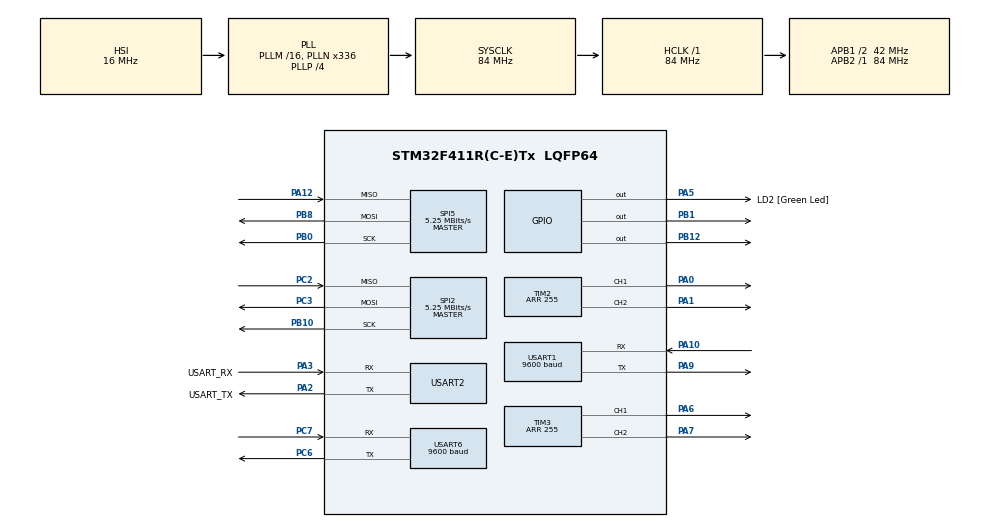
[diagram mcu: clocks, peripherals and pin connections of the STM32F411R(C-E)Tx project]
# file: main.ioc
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Dma.Request0=USART6_RX
Dma.Request1=USART1_TX
Dma.Request2=USART1_RX
Dma.USART1_RX.2.Direction=DMA_PERIPH_TO_MEMORY
Dma.USART1_RX.2.FIFOMode=DMA_FIFOMODE_DISABLE
Dma.USART1_RX.2.Instance=DMA2_Stream2
Dma.USART1_RX.2.MemDataAlignment=DMA_MDATAALIGN_BYTE
Dma.USART1_RX.2.MemInc=DMA_MINC_ENABLE
Dma.USART1_RX.2.Mode=DMA_NORMAL
Dma.USART1_RX.2.PeriphDataAlignment=DMA_PDATAALIGN_BYTE
Dma.USART1_RX.2.PeriphInc=DMA_PINC_DISABLE
Dma.USART1_RX.2.Priority=DMA_PRIORITY_LOW
Dma.USART1_TX.1.Direction=DMA_MEMORY_TO_PERIPH
Dma.USART1_TX.1.FIFOMode=DMA_FIFOMODE_DISABLE
Dma.USART1_TX.1.Instance=DMA2_Stream7
Dma.USART1_TX.1.MemDataAlignment=DMA_MDATAALIGN_BYTE
Dma.USART1_TX.1.MemInc=DMA_MINC_ENABLE
Dma.USART1_TX.1.Mode=DMA_NORMAL
Dma.USART1_TX.1.PeriphDataAlignment=DMA_PDATAALIGN_BYTE
Dma.USART1_TX.1.PeriphInc=DMA_PINC_DISABLE
Dma.USART1_TX.1.Priority=DMA_PRIORITY_LOW
Dma.USART6_RX.0.Direction=DMA_PERIPH_TO_MEMORY
Dma.USART6_RX.0.FIFOMode=DMA_FIFOMODE_DISABLE
Dma.USART6_RX.0.Instance=DMA2_Stream1
Dma.USART6_RX.0.MemDataAlignment=DMA_MDATAALIGN_BYTE
Dma.USART6_RX.0.MemInc=DMA_MINC_ENABLE
Dma.USART6_RX.0.Mode=DMA_CIRCULAR
Dma.USART6_RX.0.PeriphDataAlignment=DMA_PDATAALIGN_BYTE
Dma.USART6_RX.0.PeriphInc=DMA_PINC_DISABLE
Dma.USART6_RX.0.Priority=DMA_PRIORITY_LOW
Mcu.Family=STM32F4
Mcu.Name=STM32F411R(C-E)Tx
Mcu.Package=LQFP64
NVIC.DMA2_Stream1_IRQn=true\:0\:0\:false\:false\:true\:false\:true\:true
NVIC.DMA2_Stream2_IRQn=true\:0\:0\:false\:false\:true\:false\:true\:true
NVIC.DMA2_Stream7_IRQn=true\:0\:0\:false\:false\:true\:false\:true\:true
NVIC.PriorityGroup=NVIC_PRIORITYGROUP_0
NVIC.SPI2_IRQn=true\:0\:0\:false\:false\:true\:true\:true\:true
NVIC.SPI5_IRQn=true\:0\:0\:false\:false\:true\:true\:true\:true
NVIC.USART1_IRQn=true\:0\:0\:false\:false\:true\:true\:true\:true
NVIC.USART6_IRQn=true\:0\:0\:false\:false\:true\:true\:true\:true
PA0-WKUP.Signal=S_TIM2_CH1_ETR
PA1.Signal=S_TIM2_CH2
PA10.Mode=Asynchronous
PA10.Signal=USART1_RX
PA12.Mode=Full_Duplex_Master
PA12.Signal=SPI5_MISO
PA13.GPIO_Label=TMS
PA13.Mode=Serial_Wire
PA13.Signal=SYS_JTMS-SWDIO
PA14.GPIO_Label=TCK
PA14.Mode=Serial_Wire
PA14.Signal=SYS_JTCK-SWCLK
PA2.GPIO_Label=USART_TX
PA2.Mode=Asynchronous
PA2.Signal=USART2_TX
PA3.GPIO_Label=USART_RX
PA3.Mode=Asynchronous
PA3.Signal=USART2_RX
PA5.GPIO_Label=LD2 [Green Led]
PA5.Signal=GPIO_Output
PA6.Signal=S_TIM3_CH1
PA7.Signal=S_TIM3_CH2
PA9.Mode=Asynchronous
PA9.Signal=USART1_TX
PB0.Mode=Full_Duplex_Master
PB0.Signal=SPI5_SCK
PB1.Signal=GPIO_Output
PB10.Mode=Full_Duplex_Master
PB10.Signal=SPI2_SCK
PB12.Signal=GPIO_Output
PB8.Mode=Full_Duplex_Master
PB8.Signal=SPI5_MOSI
PC14-OSC32_IN.Mode=LSE-External-Oscillator
PC14-OSC32_IN.Signal=RCC_OSC32_IN
PC15-OSC32_OUT.Mode=LSE-External-Oscillator
PC15-OSC32_OUT.Signal=RCC_OSC32_OUT
PC2.Mode=Full_Duplex_Master
PC2.Signal=SPI2_MISO
PC3.Mode=Full_Duplex_Master
PC3.Signal=SPI2_MOSI
PC6.Mode=Asynchronous
PC6.Signal=USART6_TX
PC7.Mode=Asynchronous
PC7.Signal=USART6_RX
PH0\ -\ OSC_IN.Mode=HSE-External-Clock-Source
PH0\ -\ OSC_IN.Signal=RCC_OSC_IN
PH1\ -\ OSC_OUT.Mode=HSE-External-Clock-Source
PH1\ -\ OSC_OUT.Signal=RCC_OSC_OUT
ProjectManager.HeapSize=0x200
ProjectManager.StackSize=0x400
ProjectManager.TargetToolchain=CMake
RCC.48MHZClocksFreq_Value=84000000
RCC.AHBFreq_Value=84000000
RCC.APB1CLKDivider=RCC_HCLK_DIV2
RCC.APB1Freq_Value=42000000
RCC.APB1TimFreq_Value=84000000
RCC.APB2Freq_Value=84000000
RCC.APB2TimFreq_Value=84000000
RCC.CortexFreq_Value=84000000
RCC.FLatency-AdvancedSettings=FLASH_LATENCY_2
RCC.HCLKFreq_Value=84000000
RCC.HSE_VALUE=8000000
RCC.HSI_VALUE=16000000
RCC.PLLN=336
RCC.PLLP=RCC_PLLP_DIV4
RCC.SYSCLKFreq_VALUE=84000000
RCC.SYSCLKSource=RCC_SYSCLKSOURCE_PLLCLK
RCC.VCOOutputFreq_Value=336000000
SH.S_TIM2_CH1_ETR.0=TIM2_CH1,PWM Generation1 CH1
SH.S_TIM2_CH2.0=TIM2_CH2,PWM Generation2 CH2
SH.S_TIM3_CH1.0=TIM3_CH1,PWM Generation1 CH1
SH.S_TIM3_CH2.0=TIM3_CH2,PWM Generation2 CH2
SPI2.BaudRatePrescaler=SPI_BAUDRATEPRESCALER_8
SPI2.CLKPhase=SPI_PHASE_2EDGE
SPI2.CLKPolarity=SPI_POLARITY_HIGH
SPI2.CalculateBaudRate=5.25 MBits/s
SPI2.Direction=SPI_DIRECTION_2LINES
SPI2.Mode=SPI_MODE_MASTER
SPI2.VirtualType=VM_MASTER
SPI5.BaudRatePrescaler=SPI_BAUDRATEPRESCALER_16
SPI5.CLKPhase=SPI_PHASE_2EDGE
SPI5.CLKPolarity=SPI_POLARITY_HIGH
SPI5.CalculateBaudRate=5.25 MBits/s
SPI5.Direction=SPI_DIRECTION_2LINES
SPI5.Mode=SPI_MODE_MASTER
SPI5.VirtualType=VM_MASTER
TIM2.Channel-PWM\ Generation1\ CH1=TIM_CHANNEL_1
TIM2.Channel-PWM\ Generation2\ CH2=TIM_CHANNEL_2
TIM2.Period=255
TIM2.Pulse-PWM\ Generation1\ CH1=200
TIM2.Pulse-PWM\ Generation2\ CH2=200
TIM3.Channel-PWM\ Generation1\ CH1=TIM_CHANNEL_1
TIM3.Channel-PWM\ Generation2\ CH2=TIM_CHANNEL_2
TIM3.Period=255
TIM3.Pulse-PWM\ Generation1\ CH1=200
TIM3.Pulse-PWM\ Generation2\ CH2=200
USART1.BaudRate=9600
USART1.VirtualMode=VM_ASYNC
USART2.VirtualMode=VM_ASYNC
USART6.BaudRate=9600
USART6.VirtualMode=VM_ASYNC
VP_TIM2_VS_ClockSourceINT.Mode=Internal
VP_TIM3_VS_ClockSourceINT.Mode=Internal
board=NUCLEO-F411RE

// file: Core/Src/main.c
/* USER CODE BEGIN Header */
/**
  ******************************************************************************
  * @file           : main.c
  * @brief          : Main program body
  ******************************************************************************
  * @attention
  *
  * Copyright (c) 2025 STMicroelectronics.
  * All rights reserved.
  *
  * This software is licensed under terms that can be found in the LICENSE file
  * in the root directory of this software component.
  * If no LICENSE file comes with this software, it is provided AS-IS.
  *
  ******************************************************************************
  */
/* USER CODE END Header */
#include "main.h"

/* USER CODE BEGIN Includes */
#include "m8q.h"
#include <stdio.h>
#include <stdarg.h>
#include <string.h>
#include <stdlib.h>
#include <math.h>

static uint8_t rx_buf[20];
static char* tx_1 = "AT";
// Define setup commands for HM-10 Bluetooth module
static char* setup_cmds[] = {
    "AT+ROLE0",      // Set as peripheral
    "AT+ADVI3",      // Set advertising interval to 318.75ms (better compatibility)
    "AT+ADTY0",      // Allow advertising and connections
    "AT+FLAG1",      // Enable advertising flag (critical for iOS visibility)
    "AT+NAMEFairway",
    "AT+SHOW1",
    "AT+IBEA0",
    "AT+UUID0xFFE0", // Set standard service UUID
    "AT+CHAR0xFFE1", // Set standard characteristic UUID
    "AT+POWE3",      // Max transmit power (6dbm)
    "AT+RESET",      // Reboot module
    "AT+NAME?"       // Verify name
};

// ICM-20948 Register addresses - Updated for correct bank 0 addresses
#define WHO_AM_I_REG     0x00
#define WHO_AM_I_VAL     0xEA

#define PWR_MGMT_1       0x06
#define ACCEL_XOUT_H     0x2D
#define ACCEL_XOUT_L     0x2E
#define ACCEL_YOUT_H     0x2F
#define ACCEL_YOUT_L     0x30
#define ACCEL_ZOUT_H     0x31
#define ACCEL_ZOUT_L     0x32
#define GYRO_XOUT_H      0x33
#define GYRO_XOUT_L      0x34
#define GYRO_YOUT_H      0x35
#define GYRO_YOUT_L      0x36
#define GYRO_ZOUT_H      0x37
#define GYRO_ZOUT_L      0x38
#define PWR_MGMT_2       0x07
#define GYRO_CONFIG_1    0x01
#define ACCEL_CONFIG     0x14

// ICM-20948 specific defines
#define ICM_CS_PIN       GPIO_PIN_1
#define ICM_CS_PORT      GPIOB

// Add these defines for magnetometer registers (AK09916)
#define MAG_WHO_AM_I        0x01  // Should return 0x09
#define MAG_ST1             0x10  // Status 1
#define MAG_HXL             0x11  // X-axis LSB
#define MAG_HXH             0x12  // X-axis MSB
#define MAG_HYL             0x13  // Y-axis LSB
#define MAG_HYH             0x14  // Y-axis MSB
#define MAG_HZL             0x15  // Z-axis LSB
#define MAG_HZH             0x16  // Z-axis MSB
#define MAG_ST2             0x18  // Status 2
#define MAG_CNTL2           0x31  // Control 2
#define MAG_CNTL3           0x32  // Control 3
#define USER_BANK_SEL	(0x7F)
#define USER_BANK_0		(0x00)
#define USER_BANK_1		(0x10)
#define USER_BANK_2		(0x20)
#define USER_BANK_3		(0x30)
#define CLK_BEST_AVAIL	(0x01)
#define GYRO_RATE_250	(0x00)
#define GYRO_LPF_17HZ 	(0x29)

// Magnetometer data storage
int16_t mag_data[3];

// Define magnetic declination for your location
// This is the angle between magnetic north and true north
// Look up the value for your area: https://www.ngdc.noaa.gov/geomag/calculators/magcalc.shtml
#define MAGNETIC_DECLINATION_DEG -4.48f  // Purdue University's Magnetic Declination
#define DEBUG_GPS_DATA 1
#define DEBUG_IMU_DATA 0

// Motor pins (update these based on your hardware connections)
#define MOTOR_LEFT_FWD_TIM       htim2
#define MOTOR_LEFT_FWD_CHANNEL   TIM_CHANNEL_1
#define MOTOR_LEFT_REV_TIM       htim2
#define MOTOR_LEFT_REV_CHANNEL   TIM_CHANNEL_2

#define MOTOR_RIGHT_FWD_TIM      htim3
#define MOTOR_RIGHT_FWD_CHANNEL  TIM_CHANNEL_1
#define MOTOR_RIGHT_REV_TIM      htim3
#define MOTOR_RIGHT_REV_CHANNEL  TIM_CHANNEL_2

// Mode definitions
typedef enum {
    MODE_FOLLOW_ME,
    MODE_MANUAL
} OperationMode;

// Command definitions
#define CMD_FORWARD     0x01
#define CMD_BACKWARD    0x02
#define CMD_LEFT        0x03
#define CMD_RIGHT       0x04
#define CMD_STOP        0x05
#define CMD_MODE_FOLLOW 0x06
#define CMD_MODE_MANUAL 0x07

/* USER CODE END Includes */

/* USER CODE BEGIN PTD */
typedef enum {
    GPS_STATUS_INIT,
    GPS_STATUS_OK,
    GPS_STATUS_ERROR,
    GPS_STATUS_NO_FIX
} GPS_Status;
/* USER CODE END PTD */

SPI_HandleTypeDef hspi2;
SPI_HandleTypeDef hspi5;

TIM_HandleTypeDef htim2;
TIM_HandleTypeDef htim3;

UART_HandleTypeDef huart1;
UART_HandleTypeDef huart2;
UART_HandleTypeDef huart6;
DMA_HandleTypeDef hdma_usart1_tx;
DMA_HandleTypeDef hdma_usart1_rx;
DMA_HandleTypeDef hdma_usart6_rx;

/* USER CODE BEGIN PV */
GPS_Data gps_data;
GPS_Data phone_gps_data;
GPS_Data previous_gps_data;       // Add this to store previous GPS data
GPS_Data previous_phone_gps_data; // Add this to store previous phone GPS data
GNSSVector gnss_vector;           // Store the calculated vector

static uint8_t phone_gps_buffer[26];
static uint16_t phone_gps_bytes_received = 0;

// DMA buffer for UART reception
#define UART_RX_BUFFER_SIZE 512
uint8_t uartRxBuffer[UART_RX_BUFFER_SIZE];
volatile uint16_t rxHead = 0;
volatile uint16_t searchPos = 0;

// Add this for Bluetooth GPS reception - 26 bytes as per the app's specification
#define BT_GPS_DATA_SIZE 26
uint8_t bt_gps_buffer[BT_GPS_DATA_SIZE];
volatile bool bt_gps_data_ready = false;

OperationMode currentMode = MODE_FOLLOW_ME;  // Default to follow me mode
uint32_t lastCommandTime = 0;

#define RX_BUFFER_SIZE 128
uint8_t rxBuffer[RX_BUFFER_SIZE];

// Add these global variables for rolling average
#define ROLLING_AVG_SAMPLES 3
static int16_t accel_history[ROLLING_AVG_SAMPLES][3] = {0};
static int16_t mag_history[ROLLING_AVG_SAMPLES][3] = {0};
static uint8_t history_index = 0;

static uint8_t phone_data_buffer[26];
static uint8_t phone_data_received = 0;

// Add this global variable to track when to process GPS data
static uint32_t lastGpsProcessTime = 0;
#define GPS_PROCESS_INTERVAL 1000 // Process GPS data every 1 second
/* USER CODE END PV */

void SystemClock_Config(void);
static void MX_GPIO_Init(void);
static void MX_DMA_Init(void);
static void MX_USART2_UART_Init(void);
static void MX_USART6_UART_Init(void);
static void MX_USART1_UART_Init(void);
static void MX_SPI2_Init(void);
static void MX_TIM2_Init(void);
static void MX_TIM3_Init(void);
static void MX_SPI5_Init(void);

/* USER CODE BEGIN PFP */
float bytesToFloat(uint8_t* bytes);
void parsePhoneGPSData(uint8_t* buffer, GPS_Data* gps);
/* USER CODE END PFP */

/* USER CODE BEGIN 0 */
void printToConsole(const char *format, ...) {
    char buffer[256];
    va_list args;
    va_start(args, format);
    vsnprintf(buffer, sizeof(buffer), format, args);
    va_end(args);

    HAL_UART_Transmit(&huart2, (uint8_t *)buffer, strlen(buffer), HAL_MAX_DELAY);
}

void decodeNMEASentence(const char *sentence) {
    char buffer[128];
    strncpy(buffer, sentence, sizeof(buffer));
    buffer[sizeof(buffer)-1] = '\0';

    char *token = strtok(buffer, ",");
    int fieldIndex = 0;

    while (token != NULL) {
        printToConsole("Field %d: %s\r\n", fieldIndex, token);
        token = strtok(NULL, ",");
        fieldIndex++;
    }
}

bool readUntilNewline(char *buffer, size_t maxSize) {
    uint32_t startTick = HAL_GetTick();
    uint32_t idx = 0;
    char ch;
    bool startFound = false;

    // Clear buffer first
    memset(buffer, 0, maxSize);

    while (idx < (maxSize - 1)) {
        // Check for timeout - 2 seconds should be enough for one complete sentence
        if ((HAL_GetTick() - startTick) > 2000) {
            if (idx > 0) {
                printToConsole("Timeout waiting for complete sentence after %d chars\r\n", idx);
            }
            break;
        }

        HAL_StatusTypeDef status = HAL_UART_Receive(&huart6, (uint8_t*)&ch, 1, 100);

        if (status == HAL_OK) {
            // Debug - uncomment if needed
            // printToConsole("%c", ch);

            // If we find the start character ($), reset buffer and start collecting
            if (ch == '$') {
                startFound = true;
                idx = 0;
                buffer[idx++] = ch;
                continue;
            }

            // Only add characters if we've found the start
            if (startFound) {
                buffer[idx++] = ch;

                // Check for complete NMEA sentence: CR+LF ending
                if (idx >= 2 && ch == '\n' && buffer[idx-2] == '\r') {
                    buffer[idx] = '\0';
                    return true;
                }

                // Alternative check: we found a complete sentence with checksum
                // Some devices might not properly terminate with CR+LF
                if (idx >= 5 && buffer[idx-3] == '*') {  // Found checksum marker
                    // Allow 2 more chars for the checksum itself
                    if (idx >= (uint32_t)(buffer[idx-3] + 3)) {
                        // Check if next char is CR or LF - if so, we're done
                        status = HAL_UART_Receive(&huart6, (uint8_t*)&ch, 1, 10);
                        if (status == HAL_OK) {
                            if (ch == '\r' || ch == '\n') {
                                buffer[idx++] = ch;
                                // Get the matching LF if we found CR
                                if (ch == '\r') {
                                    status = HAL_UART_Receive(&huart6, (uint8_t*)&ch, 1, 10);
                                    if (status == HAL_OK && ch == '\n') {
                                        buffer[idx++] = ch;
                                    }
                                }
                                buffer[idx] = '\0';
                                return true;
                            } else {
                                // Not CR/LF, add to buffer and continue
                                buffer[idx++] = ch;
                            }
                        } else {
                            // No more data but we have a complete sentence with checksum
                            buffer[idx] = '\0';
                            return true;
                        }
                    }
                }
            }
        } else if (status == HAL_TIMEOUT && startFound && idx > 5) {
            // We've started a sentence and got something meaningful
            buffer[idx] = '\0';
            return true;
        }
    }

    // If we've collected a valid-looking sentence but hit the buffer limit
    if (startFound && idx > 0) {
        buffer[idx] = '\0';
        return true;
    }

    buffer[0] = '\0';
    return false;
}

GPS_Status parseGPSTXT(const char* message) {
    if (strstr(message, "ANTSTATUS=INIT")) {
        return GPS_STATUS_INIT;
    } else if (strstr(message, "ANTSTATUS=OK")) {
        return GPS_STATUS_OK;
    } else if (strstr(message, "ANTSTATUS=SHORT") ||
               strstr(message, "ANTSTATUS=OPEN")) {
        return GPS_STATUS_ERROR;
    }
    return GPS_STATUS_NO_FIX;
}

bool printCurrentGpsOutput(void) {
    char buffer[256];
    static GPS_Status lastStatus = GPS_STATUS_INIT;
    static uint32_t noFixCount = 0;
    static uint32_t lastDebugPrint = 0;
    const uint32_t DEBUG_PRINT_INTERVAL = 1000; // Print debug every 1 second

    memset(buffer, 0, sizeof(buffer));
    memset(&gps_data, 0, sizeof(GPS_Data));

    if (readUntilNewline(buffer, sizeof(buffer))) {
        // Debug message with timestamp
        uint32_t currentTick = HAL_GetTick();
        if (currentTick - lastDebugPrint >= DEBUG_PRINT_INTERVAL) {
            printToConsole("\r\n=== GPS Debug [%lu ms] ===\r\n", currentTick);
            lastDebugPrint = currentTick;
        }

        // Validate NMEA message format
        if (buffer[0] != '$') {
            printToConsole("ERROR: Invalid NMEA format\r\n");
            return false;
        }

        // Test buffer
        // const char* buffer = "$GNRMC,201850.00,A,4025.69979,N,08654.69118,W,0.256,,240225,08654.69118,W,0.256,,240225,,,A*73";

        // Parse message type
        if (strstr(buffer, "$GNRMC")) {
            printToConsole("Message Type: RMC (Position/Speed/Time)\r\n");

            if (M8Q_ParseGNRMC(buffer, &gps_data)) {
                if (!gps_data.fix_valid) {
                    noFixCount++;
                    printToConsole("Status: NO FIX (Waiting: %lu sec)\r\n", noFixCount);
                    printToConsole("Time: %02d:%02d:%02d UTC\r\n",
                        gps_data.hours,
                        gps_data.minutes,
                        gps_data.seconds);
                    printToConsole("Troubleshooting:\r\n");
                    printToConsole("- Ensure clear view of sky\r\n");
                    printToConsole("- Wait for satellite acquisition (can take 1-5 min)\r\n");
                    printToConsole("- Check antenna connection\r\n");
                } else {
                    noFixCount = 0;
                    printToConsole("\r\n=== GPS Location Update ===\r\n");
                    printToConsole("Time: %02d:%02d:%02d UTC\r\n",
                        gps_data.hours,
                        gps_data.minutes,
                        gps_data.seconds);

                    printToConsole("Date: %02d/%02d/%04d\r\n",
                        gps_data.day,
                        gps_data.month,
                        gps_data.year);

                    // Convert coordinates to degrees and decimal minutes format
                    int lat_deg = (int)gps_data.latitude;
                    double lat_min = (gps_data.latitude - lat_deg) * 60;
                    int lon_deg = (int)gps_data.longitude;
                    double lon_min = (gps_data.longitude - lon_deg) * 60;

                    printToConsole("Position:\r\n");
                    printToConsole("  %d°%.4f' %c\r\n",
                        abs(lat_deg), fabs(lat_min), gps_data.lat_direction);
                    printToConsole("  %d°%.4f' %c\r\n",
                        abs(lon_deg), fabs(lon_min), gps_data.lon_direction);

                    if (gps_data.speed_knots > 0.5) { // Only show speed if moving
                        printToConsole("Speed: %.1f km/h\r\n",
                            gps_data.speed_knots * 1.852); // Convert knots to km/h
                        printToConsole("Heading: %.1f°\r\n",
                            gps_data.course);
                    }

                    printToConsole("=========================\r\n");
                }
            } else {
                printToConsole("ERROR: Failed to parse RMC message\r\n");
                printToConsole("Raw: %s\r\n", buffer);
            }
            return true;
        }
        else if (strstr(buffer, "$GNGGA")) {
            printToConsole("Message Type: GGA (GPS Fix Data)\r\n");

            // Parse GGA message fields
            char *saveptr;
            char *token = strtok_r(buffer, ",", &saveptr);
            int field = 0;

            while (token != NULL) {
                switch(field) {
                    case 6: // Fix quality
                        printToConsole("Fix Quality: ");
                        switch(atoi(token)) {
                            case 0: printToConsole("Invalid\r\n"); break;
                            case 1: printToConsole("GPS Fix\r\n"); break;
                            case 2: printToConsole("DGPS Fix\r\n"); break;
                            default: printToConsole("Unknown (%s)\r\n", token); break;
                        }
                        break;
                    case 7: // Satellites in use
                        printToConsole("Satellites: %s in use\r\n", token);
                        break;
                    case 8: // HDOP
                        {
                            float hdop = atof(token);
                            printToConsole("HDOP: %.1f ", hdop);
                            if (hdop < 1.0) printToConsole("(Excellent)\r\n");
                            else if (hdop < 2.0) printToConsole("(Good)\r\n");
                            else if (hdop < 5.0) printToConsole("(Moderate)\r\n");
                            else printToConsole("(Poor)\r\n");
                        }
                        break;
                }
                field++;
                token = strtok_r(NULL, ",", &saveptr);
            }
            return true;
        }
        else if (strstr(buffer, "$GNTXT")) {
            GPS_Status status = parseGPSTXT(buffer);
            if (status != lastStatus) {
                switch(status) {
                    case GPS_STATUS_INIT:
                        printToConsole("GPS Status: Initializing antenna\r\n");
                        break;
                    case GPS_STATUS_OK:
                        printToConsole("GPS Status: Antenna OK, waiting for fix\r\n");
                        break;
                    case GPS_STATUS_ERROR:
                        printToConsole("GPS Status: Antenna error detected!\r\n");
                        break;
                    default:
                        break;
                }
                lastStatus = status;
            }
            printToConsole("GPS Info Message: %s", buffer);
            return true;
        }
        else {
            printToConsole("Message Type: Other (%.*s)\r\n", 5, buffer);
            return true;
        }
    } else {
        printToConsole("ERROR: Failed to read NMEA sentence\r\n");
        return false;
    }
}

void resetBluetoothModule(void) {
    // 1. Send software reset command
    char reset_cmd[] = "AT+RESET\r\n";
    HAL_UART_Transmit(&huart1, (uint8_t*)reset_cmd, strlen(reset_cmd), HAL_MAX_DELAY);

    // 2. Wait for full reboot (critical!)
    HAL_Delay(2000);  // HM-10 needs at least 1.5 seconds to reboot

    // 3. Clear all existing configurations
    char clear_cmd[] = "AT+RENEW\r\n";  // Restore factory defaults
    HAL_UART_Transmit(&huart1, (uint8_t*)clear_cmd, strlen(clear_cmd), HAL_MAX_DELAY);
    HAL_Delay(1000);

    // 4. Clear receive buffer
    memset(rx_buf, 0, sizeof(rx_buf));
}

// Function to initialize HM-10 BLE module
void initBluetooth(void) {
    printToConsole("\r\n== Starting HM-10 Bluetooth Initialization ==\r\n");
    uint8_t response_received = 0;

    // Initial check - send AT to see if module responds
    printToConsole("Sending test command: AT\r\n");
    int size = strlen(tx_1);
    HAL_UART_Receive_DMA(&huart1, rx_buf, size);
    HAL_UART_Transmit(&huart1, (uint8_t*)tx_1, size, HAL_MAX_DELAY);

    // Wait for response with timeout
    uint32_t startTime = HAL_GetTick();
    while (!response_received && (HAL_GetTick() - startTime < 5000)) {
        if (strstr((char*)rx_buf, "OK")) {
            response_received = 1;
            printToConsole("\r\nBLE module responded OK to test command\r\n");
        }
        HAL_Delay(50);
    }

    if (!response_received) {
        printToConsole("ERROR: No response from BLE module! Check connections\r\n");
        return;
    }

    // Process each setup command
    for (int i = 0; i < sizeof(setup_cmds)/sizeof(setup_cmds[0]); i++) {
        // Cancel any ongoing reception
        HAL_UART_AbortReceive(&huart1);

        // Clear response buffer
        memset(rx_buf, 0, sizeof(rx_buf));
        response_received = 0;

        // Get command length
        size = strlen(setup_cmds[i]);

        printToConsole("Sending: %s\r\n", setup_cmds[i]);

        // Start reception before sending command
        HAL_UART_Receive_DMA(&huart1, rx_buf, sizeof(rx_buf));
        HAL_UART_Transmit(&huart1, (uint8_t*)setup_cmds[i], size, HAL_MAX_DELAY);

        // Wait for response with timeout (slightly longer for RESET command)
        int timeout = (strstr(setup_cmds[i], "RESET") != NULL) ? 10000 : 10000;
        startTime = HAL_GetTick();

        while (!response_received && (HAL_GetTick() - startTime < timeout)) {
            if (strstr((char*)rx_buf, "OK")) {
                response_received = 1;
                printToConsole("Response: %s\r\n", rx_buf);
            }
            HAL_Delay(50);
        }

        if (!response_received) {
            printToConsole("WARNING: No response to command: %s\r\n", setup_cmds[i]);
        }

        // Add delay between commands
        HAL_Delay(1000);
    }

    printToConsole("== HM-10 Bluetooth Initialization Complete ==\r\n");
}

bool getNMEASentence(char *buffer, size_t maxSize) {
    uint16_t startPos = UINT16_MAX;
    uint16_t endPos = UINT16_MAX;
    uint16_t currentHead = rxHead; // Capture current position
    uint16_t pos = searchPos;
    uint16_t searchEndPos = (currentHead >= searchPos) ? currentHead : (currentHead + UART_RX_BUFFER_SIZE);

    // Search for complete NMEA sentence
    while (pos < searchEndPos) {
        uint16_t bufferPos = pos % UART_RX_BUFFER_SIZE;

        // Look for sentence start
        if (uartRxBuffer[bufferPos] == '$' && startPos == UINT16_MAX) {
            startPos = bufferPos;
        }
        // Look for sentence end (CR+LF or just LF)
        else if (startPos != UINT16_MAX && uartRxBuffer[bufferPos] == '\n') {
            endPos = bufferPos;
            break;
        }
        pos++;
    }

    // If complete sentence found
    if (startPos != UINT16_MAX && endPos != UINT16_MAX) {
        uint16_t length = 0;
        pos = startPos;

        // Calculate sentence length accounting for buffer wrap
        uint16_t sentenceLength = (endPos >= startPos) ?
            (endPos - startPos + 1) :
            (UART_RX_BUFFER_SIZE - startPos + endPos + 1);

        // Check if sentence fits in output buffer
        if (sentenceLength >= maxSize) {
            searchPos = (endPos + 1) % UART_RX_BUFFER_SIZE;
            return false;
        }

        // Copy sentence to output buffer
        while (length < sentenceLength && length < maxSize - 1) {
            buffer[length++] = uartRxBuffer[pos];
            pos = (pos + 1) % UART_RX_BUFFER_SIZE;
        }

        buffer[length] = '\0';
        searchPos = (endPos + 1) % UART_RX_BUFFER_SIZE;

        // Validate basic NMEA format
        if (length > 6 && buffer[0] == '$' &&
            (buffer[length-2] == '\r' || buffer[length-1] == '\n')) {
            return true;
        }
    }

    // If we've searched the entire new data without finding a sentence,
    // move search position to avoid re-searching
    if (pos >= searchEndPos) {
        searchPos = currentHead;
    }

    return false;
}

// New function to process GPS data
void ProcessGpsData() {
    char nmeaBuffer[256];

    if (getNMEASentence(nmeaBuffer, sizeof(nmeaBuffer))) {
        // Debug raw NMEA sentence
        if (DEBUG_GPS_DATA) {
            printToConsole("\r\n--- Raw NMEA Sentence ---\r\n");
            printToConsole("Length: %d bytes\r\n", strlen(nmeaBuffer));
            printToConsole("Content: %s", nmeaBuffer);
        }

        if (strstr(nmeaBuffer, "$GNRMC")) {
            printToConsole("=== GNRMC Message Detected ===\r\n");

            // Store previous GPS data before updating
            memcpy(&previous_gps_data, &gps_data, sizeof(GPS_Data));

            bool success = M8Q_ParseGNRMC(nmeaBuffer, &gps_data);
            if (success) {
                printToConsole("\r\nParsing Successful!\r\n");
                printToConsole("Time: %02d:%02d:%02d UTC\r\n",
                    gps_data.hours, gps_data.minutes, gps_data.seconds);
                printToConsole("Fix Valid: %s\r\n",
                    gps_data.fix_valid ? "Yes" : "No");
                printToConsole("Position: %.6f%c, %.6f%c\r\n",
                    gps_data.latitude, gps_data.lat_direction,
                    gps_data.longitude, gps_data.lon_direction);
                if (gps_data.speed_knots > 0) {
                    printToConsole("Speed: %.2f knots\r\n", gps_data.speed_knots);
                    printToConsole("Course: %.2f degrees\r\n", gps_data.course);
                }
            }
        }

        if (strstr(nmeaBuffer, "$GNGLL")) {
            printToConsole("=== GNGLL Message Detected ===\r\n");

            // Store previous GPS data before updating
            memcpy(&previous_gps_data, &gps_data, sizeof(GPS_Data));

            bool success = M8Q_ParseGNGLL(nmeaBuffer, &gps_data);
            if (success) {
                printToConsole("\r\nParsing Successful!\r\n");
                printToConsole("Time: %02d:%02d:%02d UTC\r\n",
                    gps_data.hours, gps_data.minutes, gps_data.seconds);
                printToConsole("Fix Valid: %s\r\n",
                    gps_data.fix_valid ? "Yes" : "No");
                printToConsole("Position: %.6f%c, %.6f%c\r\n",
                    gps_data.latitude, gps_data.lat_direction,
                    gps_data.longitude, gps_data.lon_direction);
                if (gps_data.speed_knots > 0) {
                    printToConsole("Speed: %.2f knots\r\n", gps_data.speed_knots);
                    printToConsole("Course: %.2f degrees\r\n", gps_data.course);
                }
            }
        }
    }
    //  else {
    //     printToConsole("No Microcontroller GPS data present! Please check the connection.\r\n");
    // }
}

// Scale function: maps 0-100 to 50-100
int scalePWM(int speed) {
    if (speed == 0) return 0;  // Keep 0 as 0 for complete stop
    int absSpeed = speed > 0 ? speed : -speed;
    return 50 + (absSpeed * 50) / 100;  // Maps 0-100 to 50-100
}

// Set PWM duty cycle
void PWM_SetDutyCycle(TIM_HandleTypeDef *htim, uint32_t Channel, uint16_t dutyCycle) {
    uint16_t pulse = (__HAL_TIM_GET_AUTORELOAD(htim) * dutyCycle) / 100;
    __HAL_TIM_SET_COMPARE(htim, Channel, pulse);
}

/**
 * Control both motors with a single function
 * @param leftSpeed: Speed for left motor (-100 to +100)
 *                  Positive values = forward, Negative values = reverse
 * @param rightSpeed: Speed for right motor (-100 to +100)
 *                   Positive values = forward, Negative values = reverse
 */
void controlMotors(int leftSpeed, int rightSpeed) {
    // Constrain speeds to valid range
    leftSpeed = (leftSpeed > 100) ? 100 : leftSpeed;
    leftSpeed = (leftSpeed < -100) ? -100 : leftSpeed;
    rightSpeed = (rightSpeed > 100) ? 100 : rightSpeed;
    rightSpeed = (rightSpeed < -100) ? -100 : rightSpeed;

    // Set left motor
    if (leftSpeed >= 0) {
        // Forward
        PWM_SetDutyCycle(&MOTOR_LEFT_FWD_TIM, MOTOR_LEFT_FWD_CHANNEL, scalePWM(leftSpeed));
        PWM_SetDutyCycle(&MOTOR_LEFT_REV_TIM, MOTOR_LEFT_REV_CHANNEL, 0);
    } else {
        // Reverse
        PWM_SetDutyCycle(&MOTOR_LEFT_FWD_TIM, MOTOR_LEFT_FWD_CHANNEL, 0);
        PWM_SetDutyCycle(&MOTOR_LEFT_REV_TIM, MOTOR_LEFT_REV_CHANNEL, scalePWM(-leftSpeed));
    }

    // Set right motor
    if (rightSpeed >= 0) {
        // Forward
        PWM_SetDutyCycle(&MOTOR_RIGHT_FWD_TIM, MOTOR_RIGHT_FWD_CHANNEL, scalePWM(rightSpeed));
        PWM_SetDutyCycle(&MOTOR_RIGHT_REV_TIM, MOTOR_RIGHT_REV_CHANNEL, 0);
    } else {
        // Reverse
        PWM_SetDutyCycle(&MOTOR_RIGHT_FWD_TIM, MOTOR_RIGHT_FWD_CHANNEL, 0);
        PWM_SetDutyCycle(&MOTOR_RIGHT_REV_TIM, MOTOR_RIGHT_REV_CHANNEL, scalePWM(-rightSpeed));
    }
}

void processManualCommand(uint8_t* buffer, uint16_t size)
{
    // Extract command byte
    uint8_t command = buffer[1];

    // Validate checksum
    uint8_t checksum = buffer[0] ^ buffer[1];
    if (checksum != buffer[2]) {
        printToConsole("Manual command checksum error: %02X vs %02X\r\n", checksum, buffer[2]);
        return;
    }

    // Update last command time
    lastCommandTime = HAL_GetTick();

    int16_t leftSpeed = 0;
    int16_t rightSpeed = 0;

    // Process the command
    switch(command) {
        case CMD_RIGHT:
            printToConsole("Manual Command: RIGHT\r\n");
            currentMode = MODE_MANUAL;
            leftSpeed = 100;
            rightSpeed = 100;
            break;

        case CMD_LEFT:
            printToConsole("Manual Command: LEFT\r\n");
            currentMode = MODE_MANUAL;
            leftSpeed = -100;
            rightSpeed = -100;
            break;

        case CMD_BACKWARD:
            printToConsole("Manual Command: BACKWARD\r\n");
            currentMode = MODE_MANUAL;
            leftSpeed = -100;
            rightSpeed = 100;
            break;

        case CMD_FORWARD:
            printToConsole("Manual Command: FORWARD\r\n");
            currentMode = MODE_MANUAL;
            leftSpeed = 100;
            rightSpeed = -100;
            break;

        case CMD_STOP:
            printToConsole("Manual Command: STOP\r\n");
            currentMode = MODE_MANUAL;
            leftSpeed = 0;
            rightSpeed = 0;
            break;

        case CMD_MODE_FOLLOW:
            printToConsole("Switching to FOLLOW ME mode\r\n");
            currentMode = MODE_FOLLOW_ME;
            break;

        case CMD_MODE_MANUAL:
            printToConsole("Switching to MANUAL mode\r\n");
            currentMode = MODE_MANUAL;
            break;

        default:
            printToConsole("Unknown command: %02X\r\n", command);
            break;
    }

    // Execute motor command
    controlMotors(leftSpeed, rightSpeed);
}

void HAL_UARTEx_RxEventCallback(UART_HandleTypeDef *huart, uint16_t Size) {

    if (huart->Instance == USART1)
    {
        // We have received data of length 'Size'
        if (Size >= 1) {
            uint8_t msgType = rxBuffer[0];
            printToConsole("Received msgType=0x%02X, Size=%d\r\n", msgType, Size);
            bool validMessage = false;

            if (msgType == 0x01) { // GPS data (split into two 13‑byte chunks or a full 26‑byte packet)
                if (Size == 13) {
                    uint16_t offset = (phone_data_received == 0) ? 0 : 13;
                    memcpy(phone_data_buffer + offset, rxBuffer, 13);
                    phone_data_received += 13;
                    printToConsole("GPS chunk received: %d bytes, total=%d\r\n", Size, phone_data_received);
                }
                else if (Size == 26) {
                    memcpy(phone_data_buffer, rxBuffer, 26);
                    phone_data_received = 26;
                    printToConsole("Full GPS packet received: 26 bytes\r\n");
                }
                else {
                    printToConsole("Unexpected GPS chunk size: %d\r\n", Size);
                }

                if (phone_data_received == 26) {
                    memcpy(&previous_phone_gps_data, &phone_gps_data, sizeof(GPS_Data));
                    printToConsole("Assembled full GPS buffer, parsing...\r\n");
                    parsePhoneGPSData(phone_data_buffer + 1, &phone_gps_data);
                    printToConsole("Parsed phone GPS: fix=%s lat=%.6f%c lon=%.6f%c\r\n",
                                   phone_gps_data.fix_valid ? "VALID" : "INVALID",
                                   phone_gps_data.latitude,  phone_gps_data.lat_direction,
                                   phone_gps_data.longitude, phone_gps_data.lon_direction);
                    phone_data_received = 0;
                    validMessage = true;
                }
            }
            else if (msgType == 0x02 && Size >= 3) {  // Manual control (3 bytes)
                // Process manual control command
                processManualCommand(rxBuffer, Size);
                validMessage = true;
            }
        }

        // Restart DMA reception for next message
        HAL_UARTEx_ReceiveToIdle_DMA(huart, rxBuffer, RX_BUFFER_SIZE);
        __HAL_DMA_DISABLE_IT(huart->hdmarx, DMA_IT_HT);
    }
    if (huart->Instance == USART6) {
        // Calculate the new head position
        uint16_t newHead = (rxHead + Size) % UART_RX_BUFFER_SIZE;
        rxHead = newHead;

        // If searchPos is far behind, move it forward to avoid searching old data
        if ((rxHead > searchPos && (rxHead - searchPos) > UART_RX_BUFFER_SIZE/2) ||
            (rxHead < searchPos && (UART_RX_BUFFER_SIZE - searchPos + rxHead) > UART_RX_BUFFER_SIZE/2)) {
            searchPos = (rxHead + UART_RX_BUFFER_SIZE - 100) % UART_RX_BUFFER_SIZE;
        }

        // Process GPS data at regular intervals
        uint32_t currentTime = HAL_GetTick();
        if (currentTime - lastGpsProcessTime >= GPS_PROCESS_INTERVAL) {
            lastGpsProcessTime = currentTime;

            // Process GPS data
            ProcessGpsData(); // temporarily remove to test dummy gps data
        }

        // Restart DMA reception
        HAL_UARTEx_ReceiveToIdle_DMA(huart, uartRxBuffer, UART_RX_BUFFER_SIZE);
        __HAL_DMA_DISABLE_IT(huart->hdmarx, DMA_IT_HT); // Disable Half Transfer interrupt
    }
}

// void HAL_UART_RxCpltCallback(UART_HandleTypeDef *huart)
// {
//     if (huart->Instance == USART1) {
//         // Check if we have received GPS data from the app (26 bytes)
//         if (huart->RxXferSize == BT_GPS_DATA_SIZE) {
//             // Store previous phone GPS data before updating
//             memcpy(&previous_phone_gps_data, &phone_gps_data, sizeof(GPS_Data));

//             // Process the received GPS data
//             parsePhoneGPSData(bt_gps_buffer, &phone_gps_data);

//             printToConsole("\r\nBluetooth GPS data: fix=%s lat=%.6f%c lon=%.6f%c\r\n",
//                 phone_gps_data.fix_valid ? "VALID" : "INVALID",
//                 phone_gps_data.latitude, phone_gps_data.lat_direction,
//                 phone_gps_data.longitude, phone_gps_data.lon_direction);

//         } else {
//             // Original behavior for other data
//             printToConsole("\r\nReceived (callback): %s", rx_buf);
//         }

//         HAL_Delay(1000);

//         // Restart the reception for GPS data
//         memset(bt_gps_buffer, 0, BT_GPS_DATA_SIZE);

//         HAL_UART_Receive_DMA(&huart1, bt_gps_buffer, BT_GPS_DATA_SIZE);
//     }
// }

// imu libraries
typedef struct {
    int16_t x_accel;
    int16_t y_accel;
    int16_t z_accel;
    int16_t x_gyro;
    int16_t y_gyro;
    int16_t z_gyro;
} icm_20948_data;

void activate_imu() {
    HAL_GPIO_WritePin(ICM_CS_PORT, ICM_CS_PIN, GPIO_PIN_RESET);
}

void deactivate_imu() {
    HAL_GPIO_WritePin(ICM_CS_PORT, ICM_CS_PIN, GPIO_PIN_SET);
}

uint8_t SPI_Read(uint8_t reg) {
    uint8_t rx_data = 0;
    uint8_t tx_data = reg | 0x80;  // Set the read bit (bit 7) to high
    activate_imu();
    HAL_Delay(1);
    HAL_SPI_Transmit(&hspi5, &tx_data, 1, HAL_MAX_DELAY);
    HAL_SPI_Receive(&hspi5, &rx_data, 1, HAL_MAX_DELAY);
    HAL_Delay(1);
    deactivate_imu();
    return rx_data;
}

void SPI_Write(uint8_t reg, uint8_t data) {
    uint8_t tx_data[2];
    tx_data[0] = reg & 0x7F;  // Clear the read bit (bit 7) to low
    tx_data[1] = data;
    activate_imu();
    HAL_Delay(1);
    HAL_SPI_Transmit(&hspi5, tx_data, 2, HAL_MAX_DELAY);
    HAL_Delay(1);
    deactivate_imu();
}

// Helpers for magnetometer I2C communication
void ICM_i2c_Mag_Write(uint8_t reg, uint8_t value) {
    SPI_Write(USER_BANK_SEL, USER_BANK_3);  // Select user bank 3
    HAL_Delay(1);

    SPI_Write(0x03, 0x0C);  // Set I2C_SLV0_ADDR to write mode
    HAL_Delay(1);

    SPI_Write(0x04, reg);   // Set I2C_SLV0_REG to register address
    HAL_Delay(1);

    SPI_Write(0x06, value); // Set I2C_SLV0_DO with value to write
    HAL_Delay(1);
}

uint8_t ICM_i2c_Mag_Read(uint8_t reg) {
    uint8_t data;

    SPI_Write(USER_BANK_SEL, USER_BANK_3);  // Select user bank 3
    HAL_Delay(1);

    SPI_Write(0x03, 0x0C|0x80);  // Set to read mode
    HAL_Delay(1);

    SPI_Write(0x04, reg);  // Set register to read
    HAL_Delay(1);

    SPI_Write(0x06, 0xFF);  // Dummy write to trigger read
    HAL_Delay(1);

    // Return to user bank 0 to read the data
    SPI_Write(USER_BANK_SEL, USER_BANK_0);

    // Read the data from EXT_SLV_SENS_DATA register
    data = SPI_Read(0x3B);
    HAL_Delay(1);

    return data;
}

void ICM_InitMag() {
    // Configure AUX I2C Magnetometer (onboard ICM-20948)

    // Select bank 0 and enable I2C master
    SPI_Write(USER_BANK_SEL, USER_BANK_0);
    HAL_Delay(10);
    SPI_Write(0x0F, 0x30);  // INT Pin / Bypass Enable Configuration
    HAL_Delay(10);
    SPI_Write(0x03, 0x20);  // I2C_MST_EN
    HAL_Delay(10);

    // Configure I2C master in bank 3
    SPI_Write(USER_BANK_SEL, USER_BANK_3);
    HAL_Delay(10);
    SPI_Write(0x01, 0x4D);  // I2C Master mode and Speed 400 kHz
    HAL_Delay(10);
    SPI_Write(0x02, 0x01);  // I2C_SLV0_DLY enable
    HAL_Delay(10);
    SPI_Write(0x05, 0x81);  // Enable IIC and EXT_SENS_DATA == 1 Byte
    HAL_Delay(10);

    // Reset magnetometer
    ICM_i2c_Mag_Write(MAG_CNTL3, 0x01);
    HAL_Delay(100);  // Wait for reset to complete

    // Set to continuous measurement mode & 16-bit output
    ICM_i2c_Mag_Write(MAG_CNTL2, 0x08);  // Mode 4 (100 Hz)
    HAL_Delay(10);
}

void ICM_ReadMag(int16_t magn[3]) {
    uint8_t mag_buffer[10];

    // Read raw magnetometer data
    mag_buffer[0] = ICM_i2c_Mag_Read(MAG_ST1);  // Status 1

    // Only proceed if data is ready (Data Ready bit in ST1)
    if (mag_buffer[0] & 0x01) {
        mag_buffer[1] = ICM_i2c_Mag_Read(MAG_HXL);
        mag_buffer[2] = ICM_i2c_Mag_Read(MAG_HXH);
        magn[0] = mag_buffer[1] | (mag_buffer[2] << 8);

        mag_buffer[3] = ICM_i2c_Mag_Read(MAG_HYL);
        mag_buffer[4] = ICM_i2c_Mag_Read(MAG_HYH);
        magn[1] = mag_buffer[3] | (mag_buffer[4] << 8);

        mag_buffer[5] = ICM_i2c_Mag_Read(MAG_HZL);
        mag_buffer[6] = ICM_i2c_Mag_Read(MAG_HZH);
        magn[2] = mag_buffer[5] | (mag_buffer[6] << 8);

        // Trigger next measurement
        ICM_i2c_Mag_Write(MAG_CNTL2, 0x08);
    }
}

// Update the init_imu function to include magnetometer initialization
void init_imu(void) {
    // Reset the device first
    deactivate_imu();
    HAL_Delay(10);
    activate_imu();
    HAL_Delay(10);

    // Reset the device
    SPI_Write(PWR_MGMT_1, 0x80);  // Device reset
    HAL_Delay(100);  // Wait for reset to complete
    SPI_Write(PWR_MGMT_1, 0x01);  // Auto select best clock source
    HAL_Delay(10);

    // Verify device ID
    uint8_t whoami = SPI_Read(WHO_AM_I_REG);
    printToConsole("WHO_AM_I register value: 0x%02X (expected: 0x%02X)\r\n", whoami, WHO_AM_I_VAL);

    if (whoami == WHO_AM_I_VAL) {
        printToConsole("ICM-20948 found!\r\n");

        // Configure the device further
        SPI_Write(PWR_MGMT_2, 0x00);  // Enable accel and gyro
        HAL_Delay(10);

        // Select bank 2 for gyro config
        SPI_Write(USER_BANK_SEL, USER_BANK_2);
        HAL_Delay(10);

        // Configure gyro
        SPI_Write(GYRO_CONFIG_1, GYRO_RATE_250 | GYRO_LPF_17HZ);
        HAL_Delay(10);

        // Set accelerometer config
        SPI_Write(0x14, 0x00);  // 2g full scale
        HAL_Delay(10);

        // Return to bank 0
        SPI_Write(USER_BANK_SEL, USER_BANK_0);
        HAL_Delay(10);

        // Initialize magnetometer
        ICM_InitMag();

        printToConsole("ICM-20948 configured successfully with magnetometer!\r\n");
    } else {
        printToConsole("Error: Unknown device ID or communication failure!\r\n");
        printToConsole("Trying alternative initialization...\r\n");

        // Try a more robust initialization sequence
        HAL_Delay(100);

        // Make sure CS is high then low to reset SPI interface
        HAL_GPIO_WritePin(ICM_CS_PORT, ICM_CS_PIN, GPIO_PIN_SET);
        HAL_Delay(10);
        HAL_GPIO_WritePin(ICM_CS_PORT, ICM_CS_PIN, GPIO_PIN_RESET);
        HAL_Delay(10);
        HAL_GPIO_WritePin(ICM_CS_PORT, ICM_CS_PIN, GPIO_PIN_SET);
        HAL_Delay(10);

        // Try reading WHO_AM_I again
        whoami = SPI_Read(WHO_AM_I_REG);
        printToConsole("Second attempt WHO_AM_I: 0x%02X\r\n", whoami);
    }
}

/**
 * Calculate bearing using accelerometer and magnetometer data
 * @return Bearing in degrees (0-360°, where 0/360° is North)
 */
float calculateBearing(int16_t accel[3], int16_t mag[3]) {
    // Store new samples in history arrays
    for (int i = 0; i < 3; i++) {
        accel_history[history_index][i] = accel[i];
        mag_history[history_index][i] = mag[i];
    }

    // Move to next position in circular buffer
    history_index = (history_index + 1) % ROLLING_AVG_SAMPLES;

    // Calculate averages from history
    float avg_accel[3] = {0.0f};
    float avg_mag[3] = {0.0f};

    for (int i = 0; i < ROLLING_AVG_SAMPLES; i++) {
        for (int j = 0; j < 3; j++) {
            avg_accel[j] += accel_history[i][j] / (float)ROLLING_AVG_SAMPLES;
            avg_mag[j] += mag_history[i][j] / (float)ROLLING_AVG_SAMPLES;
        }
    }

    // Use averaged values for bearing calculation
    float ax = avg_accel[0];
    float ay = avg_accel[1];
    float az = avg_accel[2];

    float mx = avg_mag[0];
    float my = avg_mag[1];
    float mz = avg_mag[2];

    // Calculate pitch and roll from accelerometer
    // Note: This assumes standard orientation where:
    // +X points right, +Y points forward, +Z points up
    float pitch = atan2(ay, sqrt(ax*ax + az*az));
    float roll = atan2(-ax, az);

    // Tilt-compensate the magnetometer readings
    float mx_comp = mx * cos(pitch) + mz * sin(pitch);
    float my_comp = mx * sin(roll) * sin(pitch) + my * cos(roll) - mz * sin(roll) * cos(pitch);

    // Calculate heading in radians
    float heading = atan2(my_comp, mx_comp);

    // Convert to degrees
    heading = heading * 180.0f / M_PI;

    // Add declination correction
    heading += MAGNETIC_DECLINATION_DEG;

    // Normalize to 0-360 degrees
    if (heading < 0) {
        heading += 360.0f;
    } else if (heading >= 360.0f) {
        heading -= 360.0f;
    }

    return heading;
}

/**
 * Get a cardinal direction name from a bearing
 * @param bearing The bearing in degrees (0-360)
 * @return String with cardinal direction
 */
const char* getCardinalDirection(float bearing) {
    const char* directions[] = {"N", "NE", "E", "SE", "S", "SW", "W", "NW"};
    int index = (int)round(bearing / 45.0f) % 8;
    return directions[index];
}

// Update the read_imu_data function to include bearing calculation
float read_imu_data(void) {
    int16_t accel[3];
    // int16_t gyro[3];

    // Read accelerometer data
    uint8_t accel_x_h = SPI_Read(ACCEL_XOUT_H);
    uint8_t accel_x_l = SPI_Read(ACCEL_XOUT_L);
    uint8_t accel_y_h = SPI_Read(ACCEL_YOUT_H);
    uint8_t accel_y_l = SPI_Read(ACCEL_YOUT_L);
    uint8_t accel_z_h = SPI_Read(ACCEL_ZOUT_H);
    uint8_t accel_z_l = SPI_Read(ACCEL_ZOUT_L);

    // Read gyroscope data
    // uint8_t gyro_x_h = SPI_Read(GYRO_XOUT_H);
    // uint8_t gyro_x_l = SPI_Read(GYRO_XOUT_L);
    // uint8_t gyro_y_h = SPI_Read(GYRO_YOUT_H);
    // uint8_t gyro_y_l = SPI_Read(GYRO_YOUT_L);
    // uint8_t gyro_z_h = SPI_Read(GYRO_ZOUT_H);
    // uint8_t gyro_z_l = SPI_Read(GYRO_ZOUT_L);

    // Combine high and low bytes
    accel[0] = (int16_t)((accel_x_h << 8) | accel_x_l);
    accel[1] = (int16_t)((accel_y_h << 8) | accel_y_l);
    accel[2] = (int16_t)((accel_z_h << 8) | accel_z_l);

    // gyro[0] = (int16_t)((gyro_x_h << 8) | gyro_x_l);
    // gyro[1] = (int16_t)((gyro_y_h << 8) | gyro_y_l);
    // gyro[2] = (int16_t)((gyro_z_h << 8) | gyro_z_l);

    // Read magnetometer data
    ICM_ReadMag(mag_data);

    // Calculate bearing
    float bearing = calculateBearing(accel, mag_data);
    // const char* direction = getCardinalDirection(bearing);

    // printToConsole("Bearing: %.1f° (%s)\r\n", bearing, direction);
    // Prints Bearing: 222.4° (SW)
    return bearing;
}

/**
 * Convert bytes to float considering potential endianness differences
 * @param bytes Pointer to 4 bytes of data
 * @return Converted float value
 */
float bytesToFloat(uint8_t* bytes) {
    union {
        float value;
        uint8_t b[4];
    } u;

    // Maintain byte order (React Native uses little-endian)
    memcpy(u.b, bytes, 4);
    return u.value;
}

/**
 * Parse binary GPS data received from phone app via Bluetooth
 * @param buffer 26-byte buffer containing GPS data
 * @param gps Pointer to GPS_Data structure to populate
 */
void parsePhoneGPSData(uint8_t* buffer, GPS_Data* gps) {
    // Validate checksum first
    printToConsole("Parsing Phone GPS Data\r\n");
    printToConsole("Buffer: ");
    for(int i = 0; i < 25; i++) {
        printToConsole("%02X ", buffer[i]);
    }
    printToConsole("\r\n");
    uint8_t checksum = 0x01;
    for(int i = 0; i < 24; i++) checksum ^= buffer[i];

    if(checksum != buffer[24]) {
        printToConsole("Checksum failed: %02X vs %02X\r\n", checksum, buffer[24]);
        gps->fix_valid = false;
        return;
    }

    // Parse time (3 bytes)
    gps->hours = buffer[0];
    gps->minutes = buffer[1];
    gps->seconds = buffer[2];

    // Parse date (3 bytes + 2 byte year)
    gps->day = buffer[3];
    gps->month = buffer[4];
    gps->year = (buffer[5] | (buffer[6] << 8));  // Full 16-bit year

    // Parse coordinates (4 byte float + 1 byte direction each)
    gps->latitude = bytesToFloat(&buffer[7]);
    gps->lat_direction = buffer[11];
    gps->longitude = bytesToFloat(&buffer[12]);
    gps->lon_direction = buffer[16];

    // Parse movement (4 byte floats)
    gps->speed_knots = bytesToFloat(&buffer[17]);
    gps->course = bytesToFloat(&buffer[21]);

    // Validate directions and coordinates
    gps->fix_valid = ((gps->lat_direction == 'N' || gps->lat_direction == 'S') &&
                     (gps->lon_direction == 'E' || gps->lon_direction == 'W') &&
                     fabs(gps->latitude) <= 90.0f &&
                     fabs(gps->longitude) <= 180.0f);

    // Apply direction signs
    if(gps->lat_direction == 'S') gps->latitude = -gps->latitude;
    if(gps->lon_direction == 'W') gps->longitude = -gps->longitude;

    // Debug output
    printToConsole("Parsed Phone GPS: %.6f%c, %.6f%c Speed: %.2f Course: %.2f\r\n",
        gps->latitude, gps->lat_direction,
        gps->longitude, gps->lon_direction,
        gps->speed_knots, gps->course);
}

/* USER CODE END 0 */

int main(void)
{

  /* USER CODE BEGIN 1 */
  printToConsole("Starting Program!\r\n");
  /* USER CODE END 1 */

  /* MCU Configuration--------------------------------------------------------*/

  /* Reset of all peripherals, Initializes the Flash interface and the Systick. */
  HAL_Init();

  /* Configure the system clock */
  SystemClock_Config();

  /* Initialize all configured peripherals */
  MX_GPIO_Init();
  MX_DMA_Init();
  MX_USART2_UART_Init();
  MX_USART6_UART_Init();
  MX_USART1_UART_Init();
  MX_SPI2_Init();
  MX_TIM2_Init();
  MX_TIM3_Init();
  MX_SPI5_Init();
  /* USER CODE BEGIN 2 */

  init_imu();

    //   resetBluetoothModule();
    HAL_Delay(1000);
    //   initBluetooth();

  // Clear the Bluetooth GPS buffer before starting reception
//   memset(bt_gps_buffer, 0, BT_GPS_DATA_SIZE);
//   HAL_UART_Receive_DMA(&huart1, bt_gps_buffer, BT_GPS_DATA_SIZE);
  memset(rxBuffer, 0, RX_BUFFER_SIZE);

  HAL_UARTEx_ReceiveToIdle_DMA(&huart1, rxBuffer, RX_BUFFER_SIZE);
  __HAL_DMA_DISABLE_IT(huart1.hdmarx, DMA_IT_HT);

  printToConsole("Bluetooth GPS reception initialized!\r\n");

  // Initialize DMA for UART6 reception
  HAL_UARTEx_ReceiveToIdle_DMA(&huart6, uartRxBuffer, UART_RX_BUFFER_SIZE);
  __HAL_DMA_DISABLE_IT(huart6.hdmarx, DMA_IT_HT); // Disable Half Transfer interrupt
  printToConsole("DMA Initialized successfully\r\n");

  // Test USART6 reception
  // testUSART6Reception();

  // Start PWM channels
  HAL_TIM_PWM_Start(&htim2, TIM_CHANNEL_1);
  HAL_TIM_PWM_Start(&htim2, TIM_CHANNEL_2);
  HAL_TIM_PWM_Start(&htim3, TIM_CHANNEL_1);
  HAL_TIM_PWM_Start(&htim3, TIM_CHANNEL_2);

  // Initialize motors to stopped state
  controlMotors(0, 0);

  // Optional: Print motor control initialization message
  printToConsole("Motor control initialized successfully\r\n");

  /* USER CODE END 2 */

  /* Infinite loop */
  while (1)
  {
    /* USER CODE BEGIN 3 */

    if (currentMode == MODE_MANUAL) {
        continue;
    }

    // Print the bearing from the IMU for debugging
    if (DEBUG_IMU_DATA) {
        float bearing = read_imu_data();
        printToConsole("Current Bearing: %.1f degrees\r\n", bearing);
    }

    // Check if GPS data has changed
    bool new_data_received = false;

    if (gps_data.fix_valid &&
        (gps_data.latitude != previous_gps_data.latitude ||
         gps_data.longitude != previous_gps_data.longitude ||
         gps_data.lat_direction != previous_gps_data.lat_direction ||
         gps_data.lon_direction != previous_gps_data.lon_direction)) {
        new_data_received = true;
        printToConsole("GPS data changed\r\n");
    }

    if (phone_gps_data.fix_valid &&
        (phone_gps_data.latitude != previous_phone_gps_data.latitude ||
         phone_gps_data.longitude != previous_phone_gps_data.longitude ||
         phone_gps_data.lat_direction != previous_phone_gps_data.lat_direction ||
         phone_gps_data.lon_direction != previous_phone_gps_data.lon_direction)) {
        new_data_received = true;
        printToConsole("Phone GPS data changed\r\n");
    }

        if (new_data_received) {
        printToConsole("\r\nNew data received!\r\n");
        printToConsole("gps_data.fix_valid: %d\r\n", gps_data.fix_valid);
        printToConsole("phone_gps_data.fix_valid: %d\r\n", phone_gps_data.fix_valid);

        if (gps_data.fix_valid && phone_gps_data.fix_valid) {
            gnss_vector = calculateGNSSVector(gps_data, phone_gps_data);

            // Get current bearing from IMU
            float bearing = read_imu_data();

            // Calculate the difference between the two bearings
            float difference = bearing - gnss_vector.bearing;

            // Normalize the difference to -180 to 180 degrees
            if (difference > 180) difference -= 360;
            if (difference < -180) difference += 360;

            // Constants for control
            const float BEARING_THRESHOLD = 5.0f;  // Degrees of acceptable alignment
            const float MIN_DISTANCE = 0.1f;        // Minimum distance in meters
            const int SPEED = 100;                  // Full speed for all movements

            // Print debug info
            printToConsole("\nCurrent State:\n");
            printToConsole("Distance: %.2f m\n", gnss_vector.distance);
            printToConsole("Bearing difference: %.1f degrees\n", difference);

            // Decision logic
            if (gnss_vector.distance < MIN_DISTANCE) {
                // We've reached the target
                printToConsole("Target reached - stopping\n");
                controlMotors(0, 0);
            }
            else if (fabs(difference) > BEARING_THRESHOLD) {
                // Need to turn - determine direction
                if (difference > 0) {
                    // Turn left in place
                    printToConsole("Point turning left\n");
                    controlMotors(-SPEED, -SPEED);
                } else {
                    // Turn right in place
                    printToConsole("Point turning right\n");
                    controlMotors(SPEED, SPEED);
                }
            }
            else {
                // We're aligned, move forward
                printToConsole("Moving forward\n");
                controlMotors(SPEED, -SPEED);
            }
        } else {
            // No valid GPS data
            printToConsole("Missing valid GPS fixes: Device %s, Phone %s\n",
                        gps_data.fix_valid ? "OK" : "BAD",
                        phone_gps_data.fix_valid ? "OK" : "BAD");
        }

        // Update previous data
        memcpy(&previous_gps_data, &gps_data, sizeof(GPS_Data));
        memcpy(&previous_phone_gps_data, &phone_gps_data, sizeof(GPS_Data));
        new_data_received = false;
    }
  }
  /* USER CODE END 3 */
}

void SystemClock_Config(void)
{
  RCC_OscInitTypeDef RCC_OscInitStruct = {0};
  RCC_ClkInitTypeDef RCC_ClkInitStruct = {0};

  /** Configure the main internal regulator output voltage
  */
  __HAL_RCC_PWR_CLK_ENABLE();
  __HAL_PWR_VOLTAGESCALING_CONFIG(PWR_REGULATOR_VOLTAGE_SCALE1);

  /** Initializes the RCC Oscillators according to the specified parameters
  * in the RCC_OscInitTypeDef structure.
  */
  RCC_OscInitStruct.OscillatorType = RCC_OSCILLATORTYPE_HSI;
  RCC_OscInitStruct.HSIState = RCC_HSI_ON;
  RCC_OscInitStruct.HSICalibrationValue = RCC_HSICALIBRATION_DEFAULT;
  RCC_OscInitStruct.PLL.PLLState = RCC_PLL_ON;
  RCC_OscInitStruct.PLL.PLLSource = RCC_PLLSOURCE_HSI;
  RCC_OscInitStruct.PLL.PLLM = 16;
  RCC_OscInitStruct.PLL.PLLN = 336;
  RCC_OscInitStruct.PLL.PLLP = RCC_PLLP_DIV4;
  RCC_OscInitStruct.PLL.PLLQ = 4;
  if (HAL_RCC_OscConfig(&RCC_OscInitStruct) != HAL_OK)
  {
    Error_Handler();
  }

  /** Initializes the CPU, AHB and APB buses clocks
  */
  RCC_ClkInitStruct.ClockType = RCC_CLOCKTYPE_HCLK|RCC_CLOCKTYPE_SYSCLK
                              |RCC_CLOCKTYPE_PCLK1|RCC_CLOCKTYPE_PCLK2;
  RCC_ClkInitStruct.SYSCLKSource = RCC_SYSCLKSOURCE_PLLCLK;
  RCC_ClkInitStruct.AHBCLKDivider = RCC_SYSCLK_DIV1;
  RCC_ClkInitStruct.APB1CLKDivider = RCC_HCLK_DIV2;
  RCC_ClkInitStruct.APB2CLKDivider = RCC_HCLK_DIV1;

  if (HAL_RCC_ClockConfig(&RCC_ClkInitStruct, FLASH_LATENCY_2) != HAL_OK)
  {
    Error_Handler();
  }
}

static void MX_SPI2_Init(void)
{

  /* SPI2 parameter configuration*/
  hspi2.Instance = SPI2;
  hspi2.Init.Mode = SPI_MODE_MASTER;
  hspi2.Init.Direction = SPI_DIRECTION_2LINES;
  hspi2.Init.DataSize = SPI_DATASIZE_8BIT;
  hspi2.Init.CLKPolarity = SPI_POLARITY_HIGH;
  hspi2.Init.CLKPhase = SPI_PHASE_2EDGE;
  hspi2.Init.NSS = SPI_NSS_SOFT;
  hspi2.Init.BaudRatePrescaler = SPI_BAUDRATEPRESCALER_8;
  hspi2.Init.FirstBit = SPI_FIRSTBIT_MSB;
  hspi2.Init.TIMode = SPI_TIMODE_DISABLE;
  hspi2.Init.CRCCalculation = SPI_CRCCALCULATION_DISABLE;
  hspi2.Init.CRCPolynomial = 10;
  if (HAL_SPI_Init(&hspi2) != HAL_OK)
  {
    Error_Handler();
  }

}

static void MX_SPI5_Init(void)
{

  /* SPI5 parameter configuration*/
  hspi5.Instance = SPI5;
  hspi5.Init.Mode = SPI_MODE_MASTER;
  hspi5.Init.Direction = SPI_DIRECTION_2LINES;
  hspi5.Init.DataSize = SPI_DATASIZE_8BIT;
  hspi5.Init.CLKPolarity = SPI_POLARITY_HIGH;
  hspi5.Init.CLKPhase = SPI_PHASE_2EDGE;
  hspi5.Init.NSS = SPI_NSS_SOFT;
  hspi5.Init.BaudRatePrescaler = SPI_BAUDRATEPRESCALER_16;
  hspi5.Init.FirstBit = SPI_FIRSTBIT_MSB;
  hspi5.Init.TIMode = SPI_TIMODE_DISABLE;
  hspi5.Init.CRCCalculation = SPI_CRCCALCULATION_DISABLE;
  hspi5.Init.CRCPolynomial = 10;
  if (HAL_SPI_Init(&hspi5) != HAL_OK)
  {
    Error_Handler();
  }

}

static void MX_TIM2_Init(void)
{

  TIM_ClockConfigTypeDef sClockSourceConfig = {0};
  TIM_MasterConfigTypeDef sMasterConfig = {0};
  TIM_OC_InitTypeDef sConfigOC = {0};

  htim2.Instance = TIM2;
  htim2.Init.Prescaler = 0;
  htim2.Init.CounterMode = TIM_COUNTERMODE_UP;
  htim2.Init.Period = 255;
  htim2.Init.ClockDivision = TIM_CLOCKDIVISION_DIV1;
  htim2.Init.AutoReloadPreload = TIM_AUTORELOAD_PRELOAD_DISABLE;
  if (HAL_TIM_Base_Init(&htim2) != HAL_OK)
  {
    Error_Handler();
  }
  sClockSourceConfig.ClockSource = TIM_CLOCKSOURCE_INTERNAL;
  if (HAL_TIM_ConfigClockSource(&htim2, &sClockSourceConfig) != HAL_OK)
  {
    Error_Handler();
  }
  if (HAL_TIM_PWM_Init(&htim2) != HAL_OK)
  {
    Error_Handler();
  }
  sMasterConfig.MasterOutputTrigger = TIM_TRGO_RESET;
  sMasterConfig.MasterSlaveMode = TIM_MASTERSLAVEMODE_DISABLE;
  if (HAL_TIMEx_MasterConfigSynchronization(&htim2, &sMasterConfig) != HAL_OK)
  {
    Error_Handler();
  }
  sConfigOC.OCMode = TIM_OCMODE_PWM1;
  sConfigOC.Pulse = 200;
  sConfigOC.OCPolarity = TIM_OCPOLARITY_HIGH;
  sConfigOC.OCFastMode = TIM_OCFAST_DISABLE;
  if (HAL_TIM_PWM_ConfigChannel(&htim2, &sConfigOC, TIM_CHANNEL_1) != HAL_OK)
  {
    Error_Handler();
  }
  if (HAL_TIM_PWM_ConfigChannel(&htim2, &sConfigOC, TIM_CHANNEL_2) != HAL_OK)
  {
    Error_Handler();
  }
  HAL_TIM_MspPostInit(&htim2);

}

static void MX_TIM3_Init(void)
{

  TIM_ClockConfigTypeDef sClockSourceConfig = {0};
  TIM_MasterConfigTypeDef sMasterConfig = {0};
  TIM_OC_InitTypeDef sConfigOC = {0};

  htim3.Instance = TIM3;
  htim3.Init.Prescaler = 0;
  htim3.Init.CounterMode = TIM_COUNTERMODE_UP;
  htim3.Init.Period = 255;
  htim3.Init.ClockDivision = TIM_CLOCKDIVISION_DIV1;
  htim3.Init.AutoReloadPreload = TIM_AUTORELOAD_PRELOAD_DISABLE;
  if (HAL_TIM_Base_Init(&htim3) != HAL_OK)
  {
    Error_Handler();
  }
  sClockSourceConfig.ClockSource = TIM_CLOCKSOURCE_INTERNAL;
  if (HAL_TIM_ConfigClockSource(&htim3, &sClockSourceConfig) != HAL_OK)
  {
    Error_Handler();
  }
  if (HAL_TIM_PWM_Init(&htim3) != HAL_OK)
  {
    Error_Handler();
  }
  sMasterConfig.MasterOutputTrigger = TIM_TRGO_RESET;
  sMasterConfig.MasterSlaveMode = TIM_MASTERSLAVEMODE_DISABLE;
  if (HAL_TIMEx_MasterConfigSynchronization(&htim3, &sMasterConfig) != HAL_OK)
  {
    Error_Handler();
  }
  sConfigOC.OCMode = TIM_OCMODE_PWM1;
  sConfigOC.Pulse = 200;
  sConfigOC.OCPolarity = TIM_OCPOLARITY_HIGH;
  sConfigOC.OCFastMode = TIM_OCFAST_DISABLE;
  if (HAL_TIM_PWM_ConfigChannel(&htim3, &sConfigOC, TIM_CHANNEL_1) != HAL_OK)
  {
    Error_Handler();
  }
  if (HAL_TIM_PWM_ConfigChannel(&htim3, &sConfigOC, TIM_CHANNEL_2) != HAL_OK)
  {
    Error_Handler();
  }
  HAL_TIM_MspPostInit(&htim3);

}

static void MX_USART1_UART_Init(void)
{

  huart1.Instance = USART1;
  huart1.Init.BaudRate = 9600;
  huart1.Init.WordLength = UART_WORDLENGTH_8B;
  huart1.Init.StopBits = UART_STOPBITS_1;
  huart1.Init.Parity = UART_PARITY_NONE;
  huart1.Init.Mode = UART_MODE_TX_RX;
  huart1.Init.HwFlowCtl = UART_HWCONTROL_NONE;
  huart1.Init.OverSampling = UART_OVERSAMPLING_16;
  if (HAL_UART_Init(&huart1) != HAL_OK)
  {
    Error_Handler();
  }

}

static void MX_USART2_UART_Init(void)
{

  huart2.Instance = USART2;
  huart2.Init.BaudRate = 115200;
  huart2.Init.WordLength = UART_WORDLENGTH_8B;
  huart2.Init.StopBits = UART_STOPBITS_1;
  huart2.Init.Parity = UART_PARITY_NONE;
  huart2.Init.Mode = UART_MODE_TX_RX;
  huart2.Init.HwFlowCtl = UART_HWCONTROL_NONE;
  huart2.Init.OverSampling = UART_OVERSAMPLING_16;
  if (HAL_UART_Init(&huart2) != HAL_OK)
  {
    Error_Handler();
  }

}

static void MX_USART6_UART_Init(void)
{

  huart6.Instance = USART6;
  huart6.Init.BaudRate = 9600;
  huart6.Init.WordLength = UART_WORDLENGTH_8B;
  huart6.Init.StopBits = UART_STOPBITS_1;
  huart6.Init.Parity = UART_PARITY_NONE;
  huart6.Init.Mode = UART_MODE_TX_RX;
  huart6.Init.HwFlowCtl = UART_HWCONTROL_NONE;
  huart6.Init.OverSampling = UART_OVERSAMPLING_16;
  if (HAL_UART_Init(&huart6) != HAL_OK)
  {
    Error_Handler();
  }

}

static void MX_DMA_Init(void)
{

  /* DMA controller clock enable */
  __HAL_RCC_DMA2_CLK_ENABLE();

  /* DMA interrupt init */
  /* DMA2_Stream1_IRQn interrupt configuration */
  HAL_NVIC_SetPriority(DMA2_Stream1_IRQn, 0, 0);
  HAL_NVIC_EnableIRQ(DMA2_Stream1_IRQn);
  /* DMA2_Stream2_IRQn interrupt configuration */
  HAL_NVIC_SetPriority(DMA2_Stream2_IRQn, 0, 0);
  HAL_NVIC_EnableIRQ(DMA2_Stream2_IRQn);
  /* DMA2_Stream7_IRQn interrupt configuration */
  HAL_NVIC_SetPriority(DMA2_Stream7_IRQn, 0, 0);
  HAL_NVIC_EnableIRQ(DMA2_Stream7_IRQn);

}

static void MX_GPIO_Init(void)
{
  GPIO_InitTypeDef GPIO_InitStruct = {0};

  /* GPIO Ports Clock Enable */
  __HAL_RCC_GPIOC_CLK_ENABLE();
  __HAL_RCC_GPIOH_CLK_ENABLE();
  __HAL_RCC_GPIOA_CLK_ENABLE();
  __HAL_RCC_GPIOB_CLK_ENABLE();

  /*Configure GPIO pin Output Level */
  HAL_GPIO_WritePin(LD2_GPIO_Port, LD2_Pin, GPIO_PIN_RESET);

  /*Configure GPIO pin Output Level */
  HAL_GPIO_WritePin(GPIOB, GPIO_PIN_1|GPIO_PIN_12, GPIO_PIN_RESET);

  /*Configure GPIO pin : LD2_Pin */
  GPIO_InitStruct.Pin = LD2_Pin;
  GPIO_InitStruct.Mode = GPIO_MODE_OUTPUT_PP;
  GPIO_InitStruct.Pull = GPIO_NOPULL;
  GPIO_InitStruct.Speed = GPIO_SPEED_FREQ_LOW;
  HAL_GPIO_Init(LD2_GPIO_Port, &GPIO_InitStruct);

  /*Configure GPIO pins : PB1 PB12 */
  GPIO_InitStruct.Pin = GPIO_PIN_1|GPIO_PIN_12;
  GPIO_InitStruct.Mode = GPIO_MODE_OUTPUT_PP;
  GPIO_InitStruct.Pull = GPIO_NOPULL;
  GPIO_InitStruct.Speed = GPIO_SPEED_FREQ_LOW;
  HAL_GPIO_Init(GPIOB, &GPIO_InitStruct);

}

void Error_Handler(void)
{
  __disable_irq();
  while (1)
  {
  }
}
